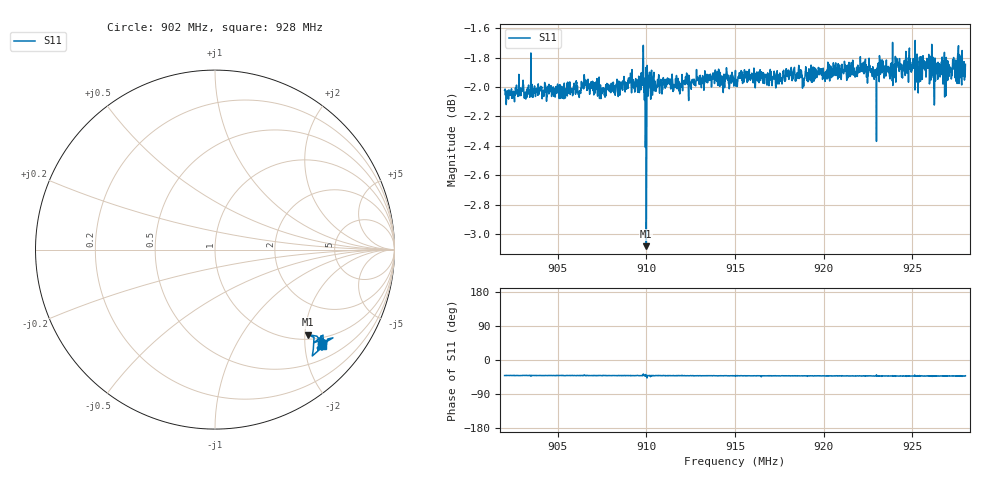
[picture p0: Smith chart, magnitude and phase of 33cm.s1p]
! Calibrated averaged scanner-service zoom
# Hz S RI R 50
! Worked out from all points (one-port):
!   2001 points, 902 MHz to 928 MHz, reference 50 ohm
!   lowest |S11| = -3.1 dB at 910 MHz (marker M1), VSWR 5.70, Z = 55.6 - j104 ohm
!   |S11| at or under -10 dB: nowhere
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9.02e8  0.5983 -0.5195
9.0525e8  0.5965 -0.514
9.06264e8  0.5991 -0.5174
9.06589e8  0.5995 -0.5277
9.07551e8  0.5969 -0.5234
9.085e8  0.5913 -0.5227
9.0967e8  0.6032 -0.5269
9.098e8  0.6162 -0.5284
9.09878e8  0.6037 -0.5198
9.09995e8  0.5176 -0.4733
9.10112e8  0.5943 -0.5254
9.10151e8  0.6044 -0.5264
9.10177e8  0.6066 -0.527
9.10645e8  0.5994 -0.524
9.1175e8  0.5999 -0.5237
9.15e8  0.5965 -0.5313
9.1825e8  0.6003 -0.534
9.215e8  0.5986 -0.5371
9.22254e8  0.6003 -0.5379
9.22852e8  0.5882 -0.5409
9.23177e8  0.6002 -0.5374
9.2475e8  0.5989 -0.5415
9.25257e8  0.5973 -0.5382
9.25712e8  0.6004 -0.5406
9.26141e8  0.5983 -0.5483
9.26817e8  0.6064 -0.5462
9.27857e8  0.5903 -0.5425
9.28e8  0.6022 -0.5395
